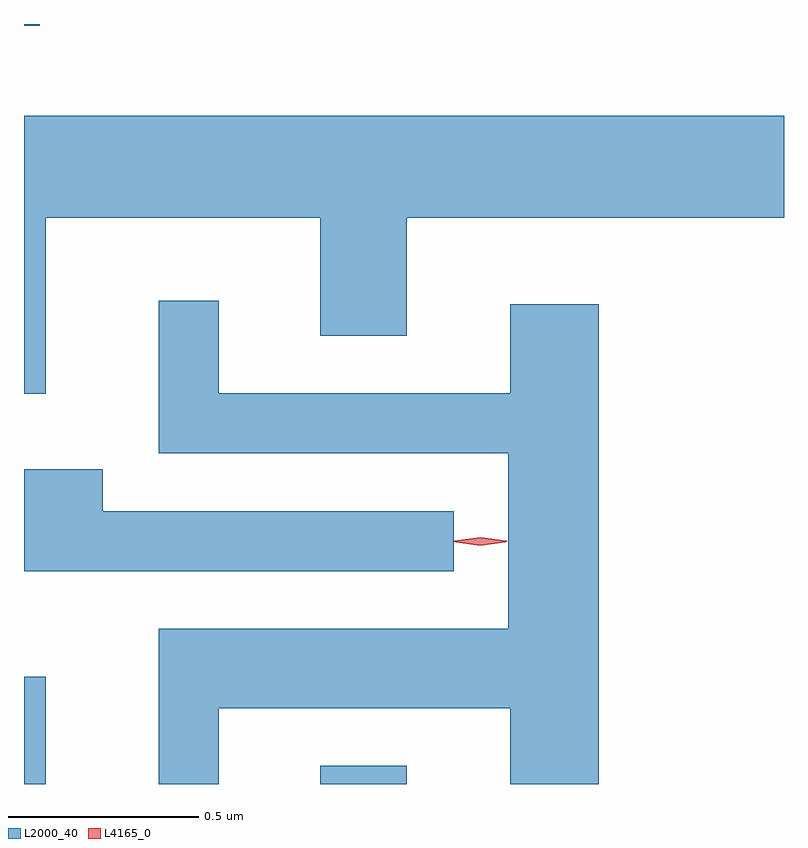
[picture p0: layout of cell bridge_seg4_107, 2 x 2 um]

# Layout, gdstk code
import gdstk
lib = gdstk.Library(unit=1e-6, precision=1e-09)
def R(c, l, rs):  # rectangles x0, y0, x1, y1
    for r in rs: c.add(gdstk.rectangle(r[:2], r[2:], *l))
def P(c, l, *ps):  # polygons
    for p in ps: c.add(gdstk.Polygon(p, *l))
L2000_40 = (2000, 40)
L4165_0 = (4165, 0)

bridge_seg4_107 = lib.new_cell('bridge_seg4_107')
R(bridge_seg4_107, L2000_40, [(879.982,1368.726,880.039,1369.008), (880.761,1368.726,880.989,1368.774), (879.982,1370.721,880.024,1370.726)])
P(bridge_seg4_107, L2000_40, [(880.039,1370.216),(880.761,1370.216),(880.761,1369.906),(880.989,1369.906),(880.989,1370.216),(881.982,1370.216),(881.982,1370.484),(879.982,1370.484),(879.982,1369.753),(880.039,1369.753)],
  [(880.494,1368.926),(881.261,1368.926),(881.261,1368.726),(881.494,1368.726),(881.494,1369.989),(881.261,1369.989),(881.261,1369.754),(880.494,1369.754),(880.494,1369.998),(880.336,1369.998),(880.336,1369.596),(881.256,1369.596),(881.256,1369.134),(880.336,1369.134),(880.336,1368.726),(880.494,1368.726)],
  [(881.113,1369.444),(880.189,1369.444),(880.189,1369.554),(879.982,1369.554),(879.982,1369.286),(881.113,1369.286)])
P(bridge_seg4_107, L4165_0, [(881.183,1369.355),(881.114,1369.364),(881.114,1369.365),(881.114,1369.366),(881.183,1369.375),(881.252,1369.366),(881.252,1369.365),(881.252,1369.364)],
  [(881.183,1369.353),(881.118,1369.362),(881.117,1369.363),(881.118,1369.363),(881.183,1369.373),(881.249,1369.363),(881.249,1369.363),(881.249,1369.362)])

lib.write_gds('bridge_seg4_107.gds')
